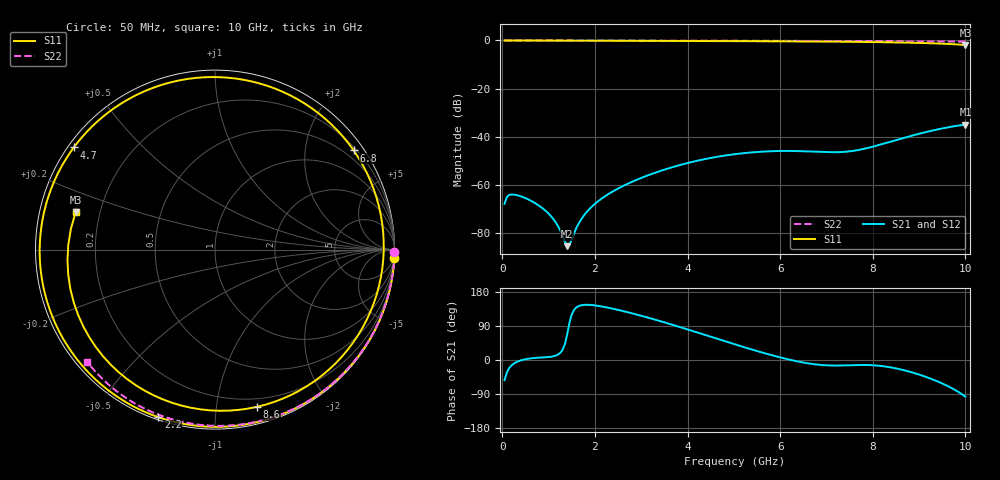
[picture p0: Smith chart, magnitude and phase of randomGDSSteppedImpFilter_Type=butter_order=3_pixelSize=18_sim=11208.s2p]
! freq	dB(S11)	phase(S11)	dB(S12)	phase(S12)
!  dB(S21)	phase(S21)	dB(S22)	phase(S22)
!S-par simulation data
#  GHz  S  DB  R 50
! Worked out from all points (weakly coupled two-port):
!   200 points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, 50 MHz to 10 GHz, reference 50 ohm
!   highest |S21| = -35.04 dB at 10 GHz (marker M1); lowest = -85.5 dB at 1.4 GHz (marker M2)
!   lowest |S11| = -1.9 dB at 10 GHz (marker M3), VSWR 9.21, Z = 5.52 + j6.51 ohm
!   |S11| at or under -10 dB: nowhere
!   |S22| runs from -0.5 to 0.0 dB; largest |S21 - S12| = 0
!   S11 on the Smith chart (normalised r, x): 50 MHz: 0, -43; 2.2 GHz: 0.01, -0.72; 4.7 GHz: 0.02, +0.32; 6.8 GHz: 0.27, +3.10; 8.6 GHz: 0.13, -1.29; 10 GHz: 0.11, +0.13
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0.05  -0.00 -2.7  -67.93 -53.3  -67.93 -53.3  -0.00 -0.8
0.15  -0.00 -8.0  -64.25 -21.3  -64.25 -21.3  -0.00 -2.4
0.55  -0.03 -29.0  -65.99 3.2  -65.99 3.2  -0.01 -8.8
1.3  -0.08 -66.8  -81.16 26.5  -81.16 26.5  -0.03 -20.7
1.4  -0.09 -71.7  -85.53 66.9  -85.53 66.9  -0.03 -22.2
1.55  -0.10 -78.8  -80.17 132.3  -80.17 132.3  -0.03 -24.6
1.75  -0.11 -88.2  -73.08 145.3  -73.08 145.3  -0.04 -27.7
2.2  -0.13 -108.7  -65.01 140.1  -65.01 140.1  -0.04 -34.6
3.4  -0.18 -160.1  -54.34 103.0  -54.34 103.0  -0.07 -52.6
4.05  -0.21 172.5  -50.73 78.8  -50.73 78.8  -0.09 -62.1
4.7  -0.26 144.1  -48.18 53.7  -48.18 53.7  -0.11 -71.3
5.05  -0.28 128.0  -47.21 40.2  -47.21 40.2  -0.12 -76.1
5.9  -0.35 85.8  -46.00 10.0  -46.00 10.0  -0.15 -87.6
6.7  -0.43 41.4  -46.21 -10.6  -46.21 -10.6  -0.19 -98.0
6.8  -0.45 35.6  -46.30 -12.1  -46.30 -12.1  -0.20 -99.3
7.55  -0.56 -9.5  -45.98 -13.6  -45.98 -13.6  -0.24 -108.8
8.35  -0.77 -59.1  -42.26 -18.7  -42.26 -18.7  -0.30 -118.7
8.6  -0.85 -75.1  -40.88 -24.8  -40.88 -24.8  -0.32 -121.7
9  -1.02 -102.0  -38.80 -38.4  -38.80 -38.4  -0.36 -126.6
9.35  -1.22 -128.1  -37.20 -54.0  -37.20 -54.0  -0.40 -130.8
9.75  -1.56 -164.6  -35.69 -77.2  -35.69 -77.2  -0.44 -135.7
10  -1.89 165.0  -35.04 -96.7  -35.04 -96.7  -0.47 -138.7
